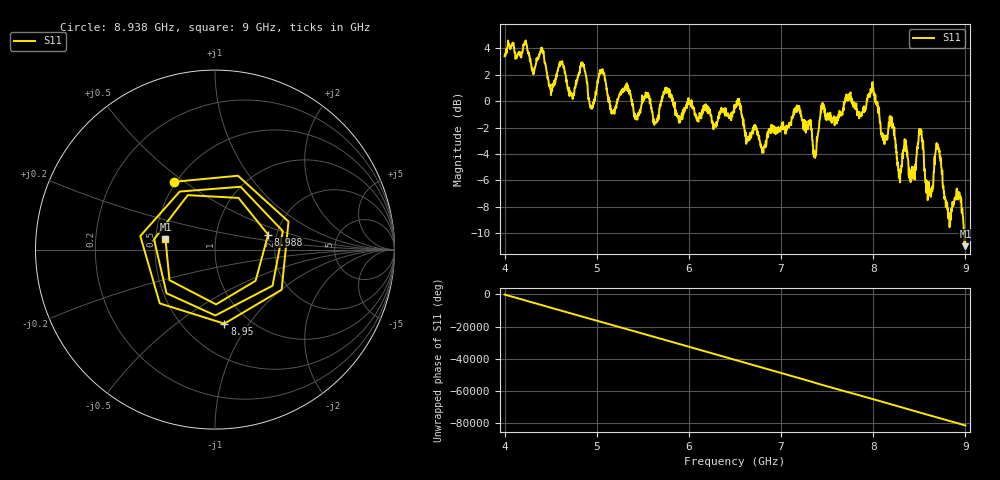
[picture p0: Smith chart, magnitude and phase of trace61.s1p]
! Created with skrf 1.8.0 (http://scikit-rf.org).
# Hz S RI R 50.0
!freq ReS11 ImS11
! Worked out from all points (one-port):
!   1601 points, 4 GHz to 9 GHz, reference 50 ohm
!   lowest |S11| = -11.0 dB at 9 GHz (marker M1), VSWR 1.79, Z = 28.2 + j3.64 ohm
!   |S11| at or under -10 dB: 8.984052 GHz to end of sweep
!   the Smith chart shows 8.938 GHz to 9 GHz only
!   S11 on the Smith chart (normalised r, x): 8.938 GHz: 0.49, +0.46; 8.95 GHz: 0.77, -0.77; 8.988 GHz: 1.80, +0.33; 9 GHz: 0.56, +0.07
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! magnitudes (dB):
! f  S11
! 4 GHz  3.4
! 4.506 GHz  0.7
! 4.625 GHz  3.0
! 4.728 GHz  0.5
! 4.85 GHz  2.6
! 4.944 GHz  -0.4
! 5.05 GHz  2.1
! 5.169 GHz  -0.9
! 5.25 GHz  0.5
! 5.875 GHz  -1.2
! 6.5 GHz  -0.5
! 6.8 GHz  -3.8
! 7.125 GHz  -1.3
! 7.366 GHz  -4.2
! 7.45 GHz  -0.5
! 7.75 GHz  0.5
! 7.997 GHz  0.7
! 8.281 GHz  -5.4
! 8.375 GHz  -4.3
! 8.428 GHz  -5.7
! 8.516 GHz  -2.1
! 8.6 GHz  -6.6
! 8.697 GHz  -3.2
! 8.812 GHz  -8.7
! 8.938 GHz  -7.1
! 8.95 GHz  -7.6
! 8.988 GHz  -10.2
! 9 GHz  -11.0
